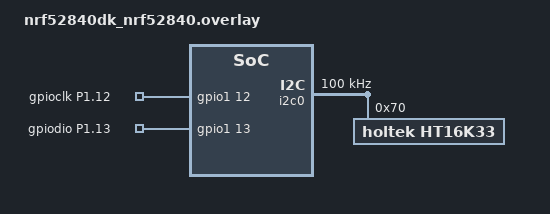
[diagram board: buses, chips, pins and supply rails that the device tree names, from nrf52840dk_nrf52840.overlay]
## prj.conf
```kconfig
CONFIG_PRINTK=y

CONFIG_LOG=y
CONFIG_I2C=y
CONFIG_LED=y
CONFIG_KSCAN=y
CONFIG_KSCAN_INIT_PRIORITY=95
CONFIG_HT16K33_KEYSCAN=y

CONFIG_GPIO=y
```

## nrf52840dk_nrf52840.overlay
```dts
// To get started, press Ctrl+Space to bring up the completion menu and view the available nodes.

// You can also use the buttons in the sidebar to perform actions on nodes.
// Actions currently available include:

// * Enabling / disabling the node
// * Adding the bus to a bus
// * Removing the node
// * Connecting ADC channels

// For more help, browse the DeviceTree documentation at https://docs.zephyrproject.org/latest/guides/dts/index.html
// You can also visit the nRF DeviceTree extension documentation at https://nrfconnect.github.io/vscode-nrf-connect/devicetree/nrfdevicetree.html

/ {
	aliases{
		gpio-clk = &gpioclk;
		gpio-dio = &gpiodio;
	};

	gpiocustom{
		status = "okay";
		compatible = "gpio-keys";

		gpioclk: gpioclk{
			gpios = <&gpio1 12 GPIO_ACTIVE_HIGH>;
			label = "gpioclk P1.12";
		};

		gpiodio: gpiodio{
			gpios = <&gpio1 13 GPIO_ACTIVE_HIGH>;
			label = "gpiodio P1.13";
		};
	};
};

&spi3 {
	status = "disabled";
};

&i2c0 {
	clock-frequency = <I2C_BITRATE_STANDARD>;

	ht16k33@70 {
		compatible = "holtek,ht16k33";
		reg = <0x70>;
                /* Uncomment to use IRQ instead of polling: */
		/* irq-gpios = <&gpio1 8 (GPIO_PULL_UP | GPIO_ACTIVE_LOW)>; */

		keyscan {
			compatible = "holtek,ht16k33-keyscan";
		};
	};
};
```

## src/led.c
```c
#include "led.h"
#include "value.h"

int number_led_matrix_arr [MAX_LED_MATRIX_IDX+1][MAX_LED_MATRIX_NUM+1];

static void led_off_tens(void);
static void led_off_units(void);

// Function to initialize the LED matrix
int led_init(void)
{
    if(!device_is_ready(led)){
        printk("LED device %s is not ready\n", led->name);
        return DK_ERR;
    }

    led_off_tens();
    led_off_units();

    return DK_OK;
}

static void led_off_tens(void)
{
    for(int i = 0; i < MAX_LED_NUM; i+=16){
        for(int j = i/2; j < (i+8); j++){
            led_off(led, j);
        }
    }
}

static void led_off_units(void)
{
    for(int i = 0; i < MAX_LED_NUM; i+=16){
        for(int j = (i+8); j < (i+16); j++){
            led_off(led, j);
        }
    }

}

void led_on_seconds(int seconds)
{
    int tens = seconds / 10;
    int units = seconds % 10;

    int num_arr_idx = 0;

    if(tens > 0){
        for(int i = 0; i < MAX_LED_NUM; i+=16){
            for(int j = i; j < (i+8); j++){
                if(number_led_matrix_arr[tens][num_arr_idx] == 1){
                    // printk("[tens] led_on: j:[%d] num_array_idx[%d]\n", j, num_arr_idx);
                    led_on(led, j);
                } else {
                    led_off(led, j);
                }

                num_arr_idx++;
            }
        }
    } else {
        led_off_tens();
    }

    num_arr_idx = 0;

    for(int i = 0; i < MAX_LED_NUM; i+=16){
        for(int j = (i+8); j < (i+16); j++){
            if(number_led_matrix_arr[units][num_arr_idx] == 1){
                // printk("[units] led_on: j:[%d] num_array_idx[%d]\n", j, num_arr_idx);
                led_on(led, j);
            } else {
                led_off(led, j);
            }
            num_arr_idx++;
        }
    }

}

int number_led_matrix_arr [MAX_LED_MATRIX_IDX+1][MAX_LED_MATRIX_NUM+1]= {
    { // 0
        0,0,0,1,1,1,0,0,
        0,0,1,0,0,0,1,0,
        0,0,1,0,0,0,1,0,
        0,0,1,0,0,0,1,0,
        0,0,1,0,0,0,1,0,
        0,0,1,0,0,0,1,0,
        0,0,1,0,0,0,1,0,
        0,0,0,1,1,1,0,0
    },
    { // 1
        0,0,0,0,1,0,0,0,
        0,0,0,1,1,0,0,0,
        0,0,1,0,1,0,0,0,
        0,0,0,0,1,0,0,0,
        0,0,0,0,1,0,0,0,
        0,0,0,0,1,0,0,0,
        0,0,0,0,1,0,0,0,
        0,0,1,1,1,1,1,0
    },
    { // 2
        0,0,0,0,1,0,0,0,
        0,0,0,1,0,1,0,0,
        0,0,1,0,0,0,1,0,
        0,0,0,0,0,1,0,0,
        0,0,0,0,1,0,0,0,
        0,0,0,1,0,0,0,0,
        0,0,1,0,0,0,0,0,
        0,0,1,1,1,1,1,0
    },
    { // 3
        0,0,1,1,1,1,0,0,
        0,0,0,0,0,0,1,0,
        0,0,0,0,0,0,1,0,
        0,0,1,1,1,1,0,0,
        0,0,0,0,0,0,1,0,
        0,0,0,0,0,0,1,0,
        0,0,0,0,0,0,1,0,
        0,0,1,1,1,1,0,0
    },
    { // 4
        0,0,0,0,0,1,0,0,
        0,0,0,0,1,1,0,0,
        0,0,0,1,0,1,0,0,
        0,0,1,0,0,1,0,0,
        0,1,1,1,1,1,1,0,
        0,0,0,0,0,1,0,0,
        0,0,0,0,0,1,0,0,
        0,0,0,0,0,1,0,0
    },
    { // 5
        0,0,1,1,1,1,1,0,
        0,0,1,0,0,0,0,0,
        0,0,1,0,0,0,0,0,
        0,0,1,1,1,1,0,0,
        0,0,0,0,0,0,1,0,
        0,0,0,0,0,0,1,0,
        0,0,1,0,0,0,1,0,
        0,0,0,1,1,1,0,0
    },
    { // 6
        0,0,0,1,1,1,0,0,
        0,0,1,0,0,0,0,0,
        0,0,1,0,0,0,0,0,
        0,0,1,1,1,1,0,0,
        0,0,1,0,0,0,1,0,
        0,0,1,0,0,0,1,0,
        0,0,1,0,0,0,1,0,
        0,0,0,1,1,1,0,0
    },
    { // 7
        0,0,1,1,1,1,1,0,
        0,0,1,0,0,0,1,0,
        0,0,1,0,0,0,1,0,
        0,0,1,0,0,0,1,0,
        0,0,0,0,0,0,1,0,
        0,0,0,0,0,0,1,0,
        0,0,0,0,0,0,1,0,
        0,0,0,0,0,0,1,0
    },
    { // 8
        0,0,0,1,1,1,0,0,
        0,0,1,0,0,0,1,0,
        0,0,1,0,0,0,1,0,
        0,0,0,1,1,1,0,0,
        0,0,1,0,0,0,1,0,
        0,0,1,0,0,0,1,0,
        0,0,1,0,0,0,1,0,
        0,0,0,1,1,1,0,0
    },
    { // 9
        0,0,0,1,1,1,0,0,
        0,0,1,0,0,0,1,0,
        0,0,1,0,0,0,1,0,
        0,0,1,0,0,0,1,0,
        0,0,0,1,1,1,1,0,
        0,0,0,0,0,0,1,0,
        0,0,0,0,0,0,1,0,
        0,0,0,0,0,0,1,0
    }
};
```

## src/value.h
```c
#define DK_OK 0
#define DK_ERR -1
```
